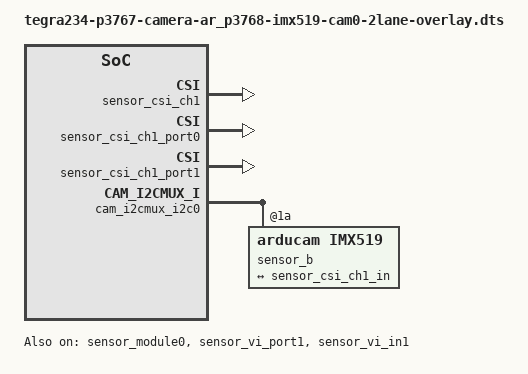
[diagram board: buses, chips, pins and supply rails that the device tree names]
// SPDX-License-Identifier: GPL-2.0
/*
 *
 * tegra234-p3767-camera-p3768-ar_imx519-cam0-2lane-overlay.dts - IMX519 sensor device tree
 */

/dts-v1/;
/plugin/;

#include <dt-bindings/tegra234-p3767-0000-common.h>


/ {
	overlay-name = "Arducam IMX519 CAM0 - 2 Lane";
	jetson-header-name = "Jetson 24pin CSI Connector";
	compatible = JETSON_COMPATIBLE_P3768;

	fragment@0 {
		target = <&sensor_module0>;
		__overlay__ {
			status = "okay";
			badge = "imx519_front_arducam";
			drivernode0 {
				status = "okay";
				/* Declare PCL support driver (classically known as guid) */
				devname = "imx519 10-001a";
				/* Declare the device-tree hierarchy to driver instance */
				sysfs-device-tree = "/sys/firmware/devicetree/base/bus@0/cam_i2cmux/i2c@0/arducam_imx519_a@1a";
			};
		};
	};

	fragment@1 {
		target = <&sensor_vi_port1>;
		__overlay__ {
			status = "okay";
		};
	};

	fragment@2 {
		target = <&sensor_vi_in1>;
		__overlay__ {
			status = "okay";
			bus-width = <2>;
		};
	};

	fragment@3 {
		target = <&sensor_csi_ch1>;
		__overlay__ {
			status = "okay";
			ports {
				status = "okay";
			};
		};
	};

	fragment@4 {
		target = <&sensor_csi_ch1_port0>;
		__overlay__ {
			status = "okay";
		};
	};

	fragment@5 {
		target = <&sensor_csi_ch1_in>;
		__overlay__ {
			status = "okay";
			bus-width = <2>;
			remote-endpoint = <&sensor_out_b>;
		};
	};

	fragment@6 {
		target = <&sensor_csi_ch1_port1>;
		__overlay__ {
			status = "okay";
		};
	};

	fragment@7 {
		target = <&sensor_csi_ch1_out>;
		__overlay__ {
			status = "okay";
		};
	};

	fragment@8 {
		target = <&cam_i2cmux_i2c0>;
		__overlay__ {
			rbpcv2_imx219_a@10 {
				status = "disabled";
			};

			sensor_b: arducam_imx519_a@1a {
				compatible = "arducam,imx519";
				reg = <0x1a>;
				
				devnode = "video0";
				physical_w = "3.680";
				physical_h = "2.760";
				sensor_model = "imx519";
				use_sensor_mode_id = "false";
				
				// --- MODE DEFINITION 0: 4656x3496 ---
				mode0 { 
					mclk_khz = "24000";
					num_lanes = "2";
					tegra_sinterface = "serial_b";
					phy_mode = "DPHY";
					discontinuous_clk = "no";
					dpcm_enable = "false";
					cil_settletime = "0";
					lane_polarity = "6";
					active_w = "4656";
					active_h = "3496";
					mode_type = "bayer";
					pixel_phase = "rggb";
					csi_pixel_bit_depth = "10";
					readout_orientation = "90";
					line_length = "12650";
					inherent_gain = "1";
					mclk_multiplier = "80";
					pix_clk_hz = "300000000";
					gain_factor = "16";
					framerate_factor = "1000000";
					exposure_factor = "1000000";
					min_gain_val = "16";
					max_gain_val = "256";
					step_gain_val = "1";
					default_gain = "16";
					min_hdr_ratio = "1";
					max_hdr_ratio = "1";
					min_framerate = "2000000";
					max_framerate = "9000000";
					step_framerate = "1";
					default_framerate = "9000000";
					min_exp_time = "13";
					max_exp_time = "683709";
					step_exp_time = "1";
					default_exp_time = "2495";
					embedded_metadata_height = "2";
				};
				
				// --- MODE DEFINITION 1: 3840x2160 ---
				mode1 { 
					mclk_khz = "24000";
					num_lanes = "2";
					tegra_sinterface = "serial_b";
					phy_mode = "DPHY";
					discontinuous_clk = "no";
					dpcm_enable = "false";
					cil_settletime = "0";
					lane_polarity = "6";
					active_w = "3840";
					active_h = "2160";
					mode_type = "bayer";
					pixel_phase = "rggb";
					csi_pixel_bit_depth = "10";
					readout_orientation = "90";
					line_length = "10486";
					inherent_gain = "1";
					mclk_multiplier = "80";
					pix_clk_hz = "300000000";
					gain_factor = "16";
					framerate_factor = "1000000";
					exposure_factor = "1000000";
					min_gain_val = "16";
					max_gain_val = "256";
					step_gain_val = "1";
					default_gain = "16";
					min_hdr_ratio = "1";
					max_hdr_ratio = "1";
					min_framerate = "2000000";
					max_framerate = "17000000";
					step_framerate = "1";
					default_framerate = "17000000";
					min_exp_time = "13";
					max_exp_time = "683709";
					step_exp_time = "1";
					default_exp_time = "2495";
					embedded_metadata_height = "2";
				};
				
				// --- MODE DEFINITION 2: 1920x1080 ---
				mode2 { 
					mclk_khz = "24000";
					num_lanes = "2";
					tegra_sinterface = "serial_b";
					phy_mode = "DPHY";
					discontinuous_clk = "no";
					dpcm_enable = "false";
					cil_settletime = "0";
					lane_polarity = "6";
					active_w = "1920";
					active_h = "1080";
					mode_type = "bayer";
					pixel_phase = "rggb";
					csi_pixel_bit_depth = "10";
					readout_orientation = "90";
					line_length = "6027";
					inherent_gain = "1";
					mclk_multiplier = "80";
					pix_clk_hz = "300000000";
					gain_factor = "16";
					framerate_factor = "1000000";
					exposure_factor = "1000000";
					min_gain_val = "16";
					max_gain_val = "256";
					step_gain_val = "1";
					default_gain = "16";
					min_hdr_ratio = "1";
					max_hdr_ratio = "1";
					min_framerate = "2000000";
					max_framerate = "60000000";
					step_framerate = "1";
					default_framerate = "60000000";
					min_exp_time = "13";
					max_exp_time = "683709";
					step_exp_time = "1";
					default_exp_time = "2495";
					embedded_metadata_height = "2";
				};
				
				// --- MODE DEFINITION 3: 1280x720 ---
				mode3 {
					mclk_khz = "24000";
					num_lanes = "2";
					tegra_sinterface = "serial_b";
					phy_mode = "DPHY";
					discontinuous_clk = "no";
					dpcm_enable = "false";
					cil_settletime = "0";
					lane_polarity = "6";
					active_w = "1280";
					active_h = "720";
					mode_type = "bayer";
					pixel_phase = "rggb";
					csi_pixel_bit_depth = "10";
					readout_orientation = "90";
					line_length = "4336";
					inherent_gain = "1";
					mclk_multiplier = "80";
					pix_clk_hz = "300000000";
					gain_factor = "16";
					framerate_factor = "1000000";
					exposure_factor = "1000000";
					min_gain_val = "16";
					max_gain_val = "256";
					step_gain_val = "1";
					default_gain = "16";
					min_hdr_ratio = "1";
					max_hdr_ratio = "1";
					min_framerate = "2000000";
					max_framerate = "120000000";
					step_framerate = "1";
					default_framerate = "120000000";
					min_exp_time = "13";
					max_exp_time = "683709";
					step_exp_time = "1";
					default_exp_time = "2495";
					embedded_metadata_height = "2";
				};
				
				ports {
					#address-cells = <1>;
					#size-cells = <0>;
					port@0 {
						reg = <0>;
						sensor_out_b: endpoint {
							vc-id = <0>;
							port-index = <1>;
							bus-width = <2>;
							remote-endpoint = <&sensor_csi_ch1_in>;
						};
					};
				};
			};
		};
	};
};
